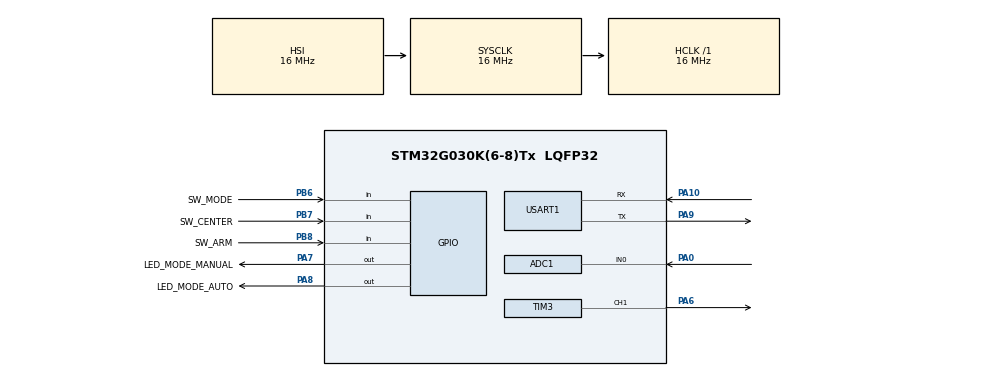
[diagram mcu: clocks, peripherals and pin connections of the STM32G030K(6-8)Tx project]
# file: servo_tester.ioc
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ADC1.Channel-0\#ChannelRegularConversion=ADC_CHANNEL_0
ADC1.ContinuousConvMode=ENABLE
ADC1.DMAContinuousRequests=ENABLE
ADC1.NbrOfConversionFlag=1
ADC1.Overrun=ADC_OVR_DATA_OVERWRITTEN
ADC1.OversamplingMode=ENABLE
ADC1.Rank-0\#ChannelRegularConversion=1
ADC1.Ratio=ADC_OVERSAMPLING_RATIO_16
ADC1.RightBitShift=ADC_RIGHTBITSHIFT_4
ADC1.SamplingTime-0\#ChannelRegularConversion=ADC_SAMPLINGTIME_COMMON_1
ADC1.SamplingTimeCommon1=ADC_SAMPLETIME_160CYCLES_5
ADC1.SamplingTimeCommon2=ADC_SAMPLETIME_160CYCLES_5
ADC1.SelectedChannel=ADC_CHANNEL_0
ADC1.master=1
Dma.ADC1.0.Direction=DMA_PERIPH_TO_MEMORY
Dma.ADC1.0.EventEnable=DISABLE
Dma.ADC1.0.Instance=DMA1_Channel1
Dma.ADC1.0.MemDataAlignment=DMA_MDATAALIGN_HALFWORD
Dma.ADC1.0.MemInc=DMA_MINC_ENABLE
Dma.ADC1.0.Mode=DMA_CIRCULAR
Dma.ADC1.0.PeriphDataAlignment=DMA_PDATAALIGN_HALFWORD
Dma.ADC1.0.PeriphInc=DMA_PINC_DISABLE
Dma.ADC1.0.Polarity=HAL_DMAMUX_REQ_GEN_RISING
Dma.ADC1.0.Priority=DMA_PRIORITY_LOW
Dma.ADC1.0.RequestNumber=1
Dma.ADC1.0.SignalID=NONE
Dma.ADC1.0.SyncEnable=DISABLE
Dma.ADC1.0.SyncPolarity=HAL_DMAMUX_SYNC_NO_EVENT
Dma.ADC1.0.SyncRequestNumber=1
Dma.ADC1.0.SyncSignalID=NONE
Dma.Request0=ADC1
Mcu.Family=STM32G0
Mcu.Name=STM32G030K(6-8)Tx
Mcu.Package=LQFP32
PA0.Mode=IN0
PA0.Signal=ADC1_IN0
PA10.Mode=Asynchronous
PA10.Signal=USART1_RX
PA13.Mode=Serial_Wire
PA13.Signal=SYS_SWDIO
PA14-BOOT0.Mode=Serial_Wire
PA14-BOOT0.Signal=SYS_SWCLK
PA6.Signal=S_TIM3_CH1
PA7.GPIO_Label=LED_MODE_MANUAL
PA7.Signal=GPIO_Output
PA8.GPIO_Label=LED_MODE_AUTO
PA8.Signal=GPIO_Output
PA9.Mode=Asynchronous
PA9.Signal=USART1_TX
PB6.GPIO_Label=SW_MODE
PB6.GPIO_PuPd=GPIO_PULLUP
PB6.Signal=GPIO_Input
PB7.GPIO_Label=SW_CENTER
PB7.GPIO_PuPd=GPIO_PULLUP
PB7.Signal=GPIO_Input
PB8.GPIO_Label=SW_ARM
PB8.GPIO_PuPd=GPIO_PULLUP
PB8.Signal=GPIO_Input
ProjectManager.HeapSize=0x200
ProjectManager.StackSize=0x400
ProjectManager.TargetToolchain=STM32CubeIDE
RCC.ADCFreq_Value=16000000
RCC.AHBFreq_Value=16000000
RCC.CortexFreq_Value=16000000
RCC.EXTERNAL_CLOCK_VALUE=12288000
RCC.HCLKFreq_Value=16000000
RCC.HSE_VALUE=8000000
RCC.HSI_VALUE=16000000
RCC.LSE_VALUE=32768
RCC.SYSCLKFreq_VALUE=16000000
RCC.VCOOutputFreq_Value=128000000
SH.S_TIM3_CH1.0=TIM3_CH1,PWM Generation1 CH1
TIM3.Channel-PWM\ Generation1\ CH1=TIM_CHANNEL_1
TIM3.Period=19999
TIM3.Prescaler=15
TIM3.Pulse-PWM\ Generation1\ CH1=1499
USART1.VirtualMode-Asynchronous=VM_ASYNC
VP_TIM3_VS_ClockSourceINT.Mode=Internal
board=custom

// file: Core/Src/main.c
/* USER CODE BEGIN Header */
/**
  ******************************************************************************
  * @file           : main.c
  * @brief          : Main program body
  ******************************************************************************
  * @attention
  *
  * Copyright (c) 2026 STMicroelectronics.
  * All rights reserved.
  *
  * This software is licensed under terms that can be found in the LICENSE file
  * in the root directory of this software component.
  * If no LICENSE file comes with this software, it is provided AS-IS.
  *
  ******************************************************************************
  */
/* USER CODE END Header */
#include "main.h"
#include "adc.h"
#include "dma.h"
#include "tim.h"
#include "usart.h"
#include "gpio.h"

/* USER CODE BEGIN Includes */
#include "mode_fsm.h"
#include "buttons.h"
#include "led.h"
#include "pos_input.h"
#include "servo.h"
#include <stdbool.h>
/* USER CODE END Includes */

/* USER CODE BEGIN PTD */
typedef struct {
	led_pattern_t led_auto_pattern;
	led_pattern_t led_manual_pattern;
} led_pattern_pair_t;

/* USER CODE END PTD */

/* USER CODE BEGIN PV */
static const led_pattern_pair_t led_table[SERVO_MODE_COUNT][ARM_STATUS_COUNT] = {
		[SERVO_MODE_MANUAL] = {
				[ARMED] = {
						.led_auto_pattern = LED_OFF,
						.led_manual_pattern = LED_ON
				},
				[DISARMED] = {
						.led_auto_pattern = LED_OFF,
						.led_manual_pattern = LED_SLOW_BLINK
				}
		},
		[SERVO_MODE_AUTO_CENTER] = {
				[ARMED] = {
						.led_auto_pattern = LED_ON,
						.led_manual_pattern = LED_OFF
				},
				[DISARMED] = {
						.led_auto_pattern = LED_SLOW_BLINK,
						.led_manual_pattern = LED_OFF
				}
		},
		[SERVO_MODE_AUTO_MIN] = {
				[ARMED] = {
						.led_auto_pattern = LED_FAST_BLINK_x1,
						.led_manual_pattern = LED_OFF
				},
				[DISARMED] = {
						.led_auto_pattern = LED_HALF_FAST_BLINK_x1,
						.led_manual_pattern = LED_OFF
				}
			},
		[SERVO_MODE_AUTO_MAX] = {
				[ARMED] = {
						.led_auto_pattern = LED_FAST_BLINK_x2,
						.led_manual_pattern = LED_OFF
				},
				[DISARMED] = {
						.led_auto_pattern = LED_HALF_FAST_BLINK_x2,
						.led_manual_pattern = LED_OFF
				}
		},
		[SERVO_MODE_AUTO_SWEEP] = {
				[ARMED] = {
						.led_auto_pattern = LED_FAST_BLINK,
						.led_manual_pattern = LED_OFF
				},
				[DISARMED] = {
						.led_auto_pattern = LED_HALF_FAST_BLINK,
						.led_manual_pattern = LED_OFF
				}
		}
};
/* USER CODE END PV */

void SystemClock_Config(void);

int main(void)
{

  /* MCU Configuration--------------------------------------------------------*/

  /* Reset of all peripherals, Initializes the Flash interface and the Systick. */
  HAL_Init();

  /* Configure the system clock */
  SystemClock_Config();

  /* Initialize all configured peripherals */
  MX_GPIO_Init();
  MX_DMA_Init();
  MX_ADC1_Init();
  MX_TIM3_Init();
  MX_USART1_UART_Init();
  /* USER CODE BEGIN 2 */
  fsm_init();
  arm_status_t arm_status = fsm_is_armed();
  arm_status_t arm_status_previous = arm_status;
  servo_mode_t current_mode = fsm_get_mode();
  servo_mode_t previous_mode = current_mode;

  led_pattern_select(LED_MANUAL, led_table[current_mode][arm_status].led_manual_pattern);
  led_pattern_select(LED_AUTO, led_table[current_mode][arm_status].led_auto_pattern);

  position_input_init();

  /* USER CODE END 2 */

  /* Infinite loop */
  /* USER CODE BEGIN WHILE */
  while (1)
  {
	  if (button_get(BTN_MODE)) fsm_handle_event(EVT_SW_MODE);
	  if (button_get(BTN_CENTER)) fsm_handle_event(EVT_SW_CENTER);
	  if (button_get(BTN_ARM)) fsm_handle_event(EVT_SW_ARM);

	  arm_status = fsm_is_armed();
	  current_mode = fsm_get_mode();

	  bool mode_changed;
	  bool arm_changed;

	  mode_changed = (current_mode != previous_mode);
	  previous_mode = current_mode;

	  arm_changed = (arm_status != arm_status_previous);
	  arm_status_previous = arm_status;

	  // LED pattern select, only once in loop (it resets time position)
	  if (arm_changed || mode_changed) {
		  led_pattern_select(LED_MANUAL, led_table[current_mode][arm_status].led_manual_pattern);
		  led_pattern_select(LED_AUTO, led_table[current_mode][arm_status].led_auto_pattern);
	  }
	  if (arm_status == ARMED) {

		  switch(current_mode) {
				  case SERVO_MODE_MANUAL:
					  servo_position_set(position_input_get());
					  break;
				  case SERVO_MODE_AUTO_CENTER:
					  servo_center();
					  break;
				  case SERVO_MODE_AUTO_MIN:
					  servo_min();
					  break;
				  case SERVO_MODE_AUTO_MAX:
					  servo_max();
					  break;
				  case SERVO_MODE_AUTO_SWEEP:
					  servo_sweep();
					  break;
				  default:
					  break;
			  }
	  }

	  if (arm_changed) {
		  if (arm_status == ARMED) servo_arm();
		  else servo_disarm();
	  }

	  led_update();

    /* USER CODE END WHILE */

  }
}

void SystemClock_Config(void)
{
  RCC_OscInitTypeDef RCC_OscInitStruct = {0};
  RCC_ClkInitTypeDef RCC_ClkInitStruct = {0};

  /** Configure the main internal regulator output voltage
  */
  HAL_PWREx_ControlVoltageScaling(PWR_REGULATOR_VOLTAGE_SCALE1);

  /** Initializes the RCC Oscillators according to the specified parameters
  * in the RCC_OscInitTypeDef structure.
  */
  RCC_OscInitStruct.OscillatorType = RCC_OSCILLATORTYPE_HSI;
  RCC_OscInitStruct.HSIState = RCC_HSI_ON;
  RCC_OscInitStruct.HSIDiv = RCC_HSI_DIV1;
  RCC_OscInitStruct.HSICalibrationValue = RCC_HSICALIBRATION_DEFAULT;
  RCC_OscInitStruct.PLL.PLLState = RCC_PLL_NONE;
  if (HAL_RCC_OscConfig(&RCC_OscInitStruct) != HAL_OK)
  {
    Error_Handler();
  }

  /** Initializes the CPU, AHB and APB buses clocks
  */
  RCC_ClkInitStruct.ClockType = RCC_CLOCKTYPE_HCLK|RCC_CLOCKTYPE_SYSCLK
                              |RCC_CLOCKTYPE_PCLK1;
  RCC_ClkInitStruct.SYSCLKSource = RCC_SYSCLKSOURCE_HSI;
  RCC_ClkInitStruct.AHBCLKDivider = RCC_SYSCLK_DIV1;
  RCC_ClkInitStruct.APB1CLKDivider = RCC_HCLK_DIV1;

  if (HAL_RCC_ClockConfig(&RCC_ClkInitStruct, FLASH_LATENCY_0) != HAL_OK)
  {
    Error_Handler();
  }
}

void Error_Handler(void)
{
  __disable_irq();
  while (1)
  {
  }
}
